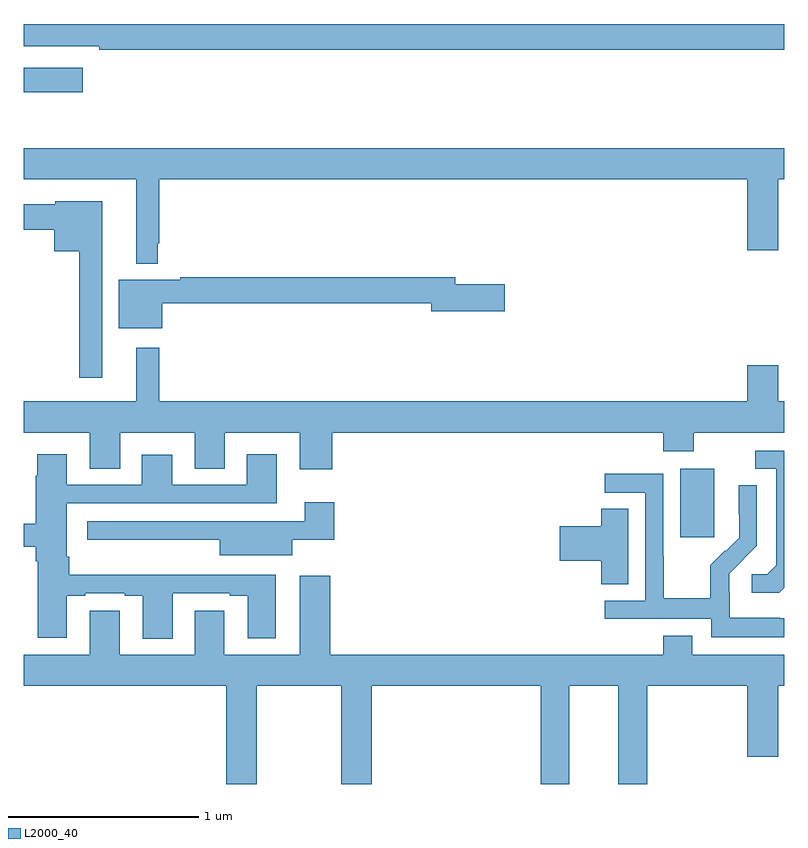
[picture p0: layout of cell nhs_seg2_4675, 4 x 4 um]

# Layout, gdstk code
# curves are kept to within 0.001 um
import gdstk
lib = gdstk.Library(unit=1e-6, precision=1e-09)
def R(c, l, rs):  # rectangles x0, y0, x1, y1
    for r in rs: c.add(gdstk.rectangle(r[:2], r[2:], *l))
def P(c, l, *ps):  # polygons
    for p in ps: c.add(gdstk.Polygon(p, *l))
L2000_40 = (2000, 40)

nhs_seg2_4675 = lib.new_cell('nhs_seg2_4675')
R(nhs_seg2_4675, L2000_40, [(368.453,635.097,368.632,635.458), (365,637.438,365.311,637.567)])
P(nhs_seg2_4675, L2000_40, [(369,637.796),(365,637.796),(365,637.68),(365.398,637.68),(365.398,637.66),(369,637.66)],
  [(365,636.98),(365.591,636.98),(365.591,636.536),(365.706,636.536),(365.706,636.643),(365.713,636.643),(365.713,636.98),(368.804,636.98),(368.804,636.606),(368.968,636.606),(368.968,636.98),(369,636.98),(369,637.144),(365,637.144)],
  [(365.413,636.865),(365.166,636.865),(365.166,636.847),(365,636.847),(365,636.713),(365.162,636.713),(365.162,636.602),(365.292,636.602),(365.292,635.937),(365.413,635.937)],
  [(365.728,636.328),(367.142,636.328),(367.142,636.286),(367.531,636.286),(367.531,636.428),(367.27,636.428),(367.27,636.464),(365.824,636.464),(365.824,636.451),(365.501,636.451),(365.501,636.197),(365.728,636.197)],
  [(366.623,635.648),(368.363,635.648),(368.363,635.549),(368.523,635.549),(368.523,635.648),(369,635.648),(369,635.812),(368.968,635.812),(368.968,636.001),(368.804,636.001),(368.804,635.812),(365.713,635.812),(365.713,636.094),(365.591,636.094),(365.591,635.812),(365,635.812),(365,635.648),(365.348,635.648),(365.348,635.458),(365.509,635.458),(365.509,635.648),(365.9,635.648),(365.9,635.458),(366.058,635.458),(366.058,635.648),(366.452,635.648),(366.452,635.454),(366.623,635.454)],
  [(369,634.833),(369,635.553),(368.847,635.553),(368.847,635.457),(368.957,635.457),(368.957,634.949),(368.91,634.902),(368.829,634.902),(368.829,634.805),(368.972,634.805)],
  [(365.785,634.803),(366.083,634.803),(366.083,634.791),(366.179,634.791),(366.179,634.566),(366.325,634.566),(366.325,634.899),(365.881,634.899),(365.881,634.901),(365.24,634.901),(365.24,634.996),(365.227,634.996),(365.227,635.277),(366.331,635.277),(366.331,635.533),(366.173,635.533),(366.173,635.373),(365.782,635.373),(365.782,635.53),(365.621,635.53),(365.621,635.373),(365.227,635.373),(365.227,635.533),(365.072,635.533),(365.072,635.42),(365.065,635.42),(365.065,635.168),(365,635.168),(365,635.047),(365.063,635.047),(365.063,634.97),(365.075,634.97),(365.075,634.569),(365.227,634.569),(365.227,634.791),(365.323,634.791),(365.323,634.803),(365.531,634.803),(365.531,634.791),(365.627,634.791),(365.627,634.565),(365.785,634.565)],
  [(369,634.671),(368.975,634.671),(368.975,634.675),(368.712,634.675),(368.712,634.809),(368.71,634.809),(368.71,634.906),(368.856,635.054),(368.856,635.372),(368.76,635.372),(368.76,635.218),(368.762,635.218),(368.762,635.096),(368.691,635.025),(368.688,635.028),(368.611,634.951),(368.611,634.777),(368.367,634.777),(368.367,635),(368.364,635),(368.364,635.43),(368.055,635.43),(368.055,635.331),(368.268,635.331),(368.268,634.764),(368.055,634.764),(368.055,634.668),(368.616,634.668),(368.616,634.571),(369,634.571)],
  [(366.412,635.085),(366.632,635.085),(366.632,635.281),(366.479,635.281),(366.479,635.182),(366.136,635.182),(366.136,635.181),(365.334,635.181),(365.334,635.084),(366.032,635.084),(366.032,635.003),(366.412,635.003)],
  [(368.179,635.246),(368.036,635.246),(368.036,635.156),(367.818,635.156),(367.818,634.973),(368.036,634.973),(368.036,634.849),(368.179,634.849)],
  [(366.225,634.316),(366.67,634.316),(366.67,633.8),(366.83,633.8),(366.83,634.316),(367.718,634.316),(367.718,633.8),(367.87,633.8),(367.87,634.316),(368.126,634.316),(368.126,633.8),(368.279,633.8),(368.279,634.316),(368.804,634.316),(368.804,633.942),(368.968,633.942),(368.968,634.316),(369,634.316),(369,634.48),(368.515,634.48),(368.515,634.579),(368.363,634.579),(368.363,634.48),(366.613,634.48),(366.613,634.894),(366.452,634.894),(366.452,634.48),(366.055,634.48),(366.055,634.711),(365.9,634.711),(365.9,634.48),(365.506,634.48),(365.506,634.711),(365.348,634.711),(365.348,634.48),(365,634.48),(365,634.316),(366.065,634.316),(366.065,633.8),(366.225,633.8)])

lib.write_gds('nhs_seg2_4675.gds')
